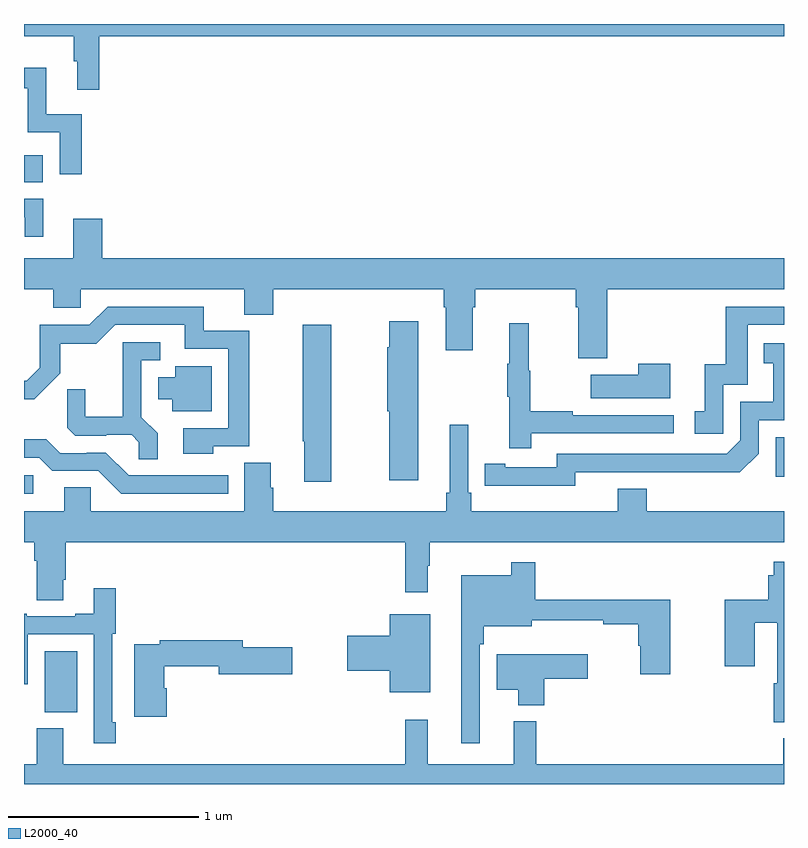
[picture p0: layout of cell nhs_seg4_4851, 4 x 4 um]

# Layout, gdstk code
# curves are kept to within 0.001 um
import gdstk
lib = gdstk.Library(unit=1e-6, precision=1e-09)
def R(c, l, rs):  # rectangles x0, y0, x1, y1
    for r in rs: c.add(gdstk.rectangle(r[:2], r[2:], *l))
def P(c, l, *ps):  # polygons
    for p in ps: c.add(gdstk.Polygon(p, *l))
L2000_40 = (2000, 40)

nhs_seg4_4851 = lib.new_cell('nhs_seg4_4851')
R(nhs_seg4_4851, L2000_40, [(373.109,777.278,373.279,777.598), (373,778.428,373.048,778.524), (376.956,778.518,377,778.725), (373,780.068,373.099,780.208)])
P(nhs_seg4_4851, L2000_40, [(373.397,780.836),(377,780.836),(377,780.9),(373,780.9),(373,780.836),(373.261,780.836),(373.261,780.704),(373.28,780.704),(373.28,780.555),(373.397,780.555)],
  [(373.304,780.426),(373.117,780.426),(373.117,780.67),(373,780.67),(373,780.561),(373.019,780.561),(373.019,780.33),(373.188,780.33),(373.188,780.108),(373.304,780.108)],
  [(373.102,779.979),(373,779.979),(373,779.883),(373.004,779.883),(373.004,779.781),(373.102,779.781)],
  [(376.07,779.504),(377,779.504),(377,779.668),(373.412,779.668),(373.412,779.875),(373.259,779.875),(373.259,779.668),(373,779.668),(373,779.504),(373.153,779.504),(373.153,779.406),(373.299,779.406),(373.299,779.504),(374.159,779.504),(374.159,779.371),(374.312,779.371),(374.312,779.504),(375.209,779.504),(375.209,779.408),(375.221,779.408),(375.221,779.184),(375.361,779.184),(375.361,779.408),(375.374,779.408),(375.374,779.504),(375.905,779.504),(375.905,779.408),(375.917,779.408),(375.917,779.142),(376.07,779.142)],
  [(373.995,778.677),(374.185,778.677),(374.185,779.286),(373.946,779.286),(373.946,779.412),(373.44,779.412),(373.344,779.316),(373.083,779.316),(373.083,779.091),(373.014,779.022),(373,779.022),(373,778.925),(373.054,778.925),(373.192,779.062),(373.192,779.218),(373.381,779.218),(373.479,779.316),(373.847,779.316),(373.847,779.19),(374.076,779.19),(374.076,778.773),(373.839,778.773),(373.839,778.637),(373.995,778.637)],
  [(376.68,779.001),(376.809,779.001),(376.809,779.316),(377,779.316),(377,779.412),(376.693,779.412),(376.693,779.11),(376.583,779.11),(376.583,778.863),(376.53,778.863),(376.53,778.743),(376.68,778.743)],
  [(375.076,779.335),(374.923,779.335),(374.923,779.199),(374.912,779.199),(374.912,778.863),(374.923,778.863),(374.923,778.5),(375.076,778.5)],
  [(375.671,778.746),(376.42,778.746),(376.42,778.842),(375.887,778.842),(375.887,778.862),(375.664,778.862),(375.664,779.076),(375.656,779.076),(375.656,779.326),(375.554,779.326),(375.554,779.113),(375.543,779.113),(375.543,778.939),(375.554,778.939),(375.554,778.668),(375.671,778.668)],
  [(374.616,779.317),(374.467,779.317),(374.467,778.703),(374.474,778.703),(374.474,778.491),(374.616,778.491)],
  [(373.703,778.745),(373.617,778.831),(373.617,779.13),(373.717,779.13),(373.717,779.226),(373.52,779.226),(373.52,778.834),(373.322,778.834),(373.322,778.977),(373.228,778.977),(373.228,778.775),(373.269,778.734),(373.434,778.734),(373.434,778.737),(373.568,778.737),(373.605,778.7),(373.605,778.609),(373.703,778.609)],
  [(375.9,778.542),(376.768,778.541),(376.866,778.638),(376.866,778.815),(377,778.815),(377,779.221),(376.894,779.221),(376.894,779.115),(376.943,779.115),(376.943,778.911),(376.77,778.911),(376.77,778.71),(376.698,778.638),(375.804,778.638),(375.804,778.566),(375.532,778.566),(375.532,778.586),(375.424,778.586),(375.424,778.47),(375.9,778.469)],
  [(376.402,779.113),(376.232,779.113),(376.232,779.053),(375.983,779.053),(375.983,778.931),(376.402,778.931)],
  [(373.987,779.098),(373.796,779.098),(373.796,779.041),(373.706,779.041),(373.706,778.925),(373.781,778.925),(373.781,778.862),(373.987,778.862)],
  [(377,778.336),(376.277,778.336),(376.277,778.453),(376.124,778.453),(376.124,778.336),(375.353,778.336),(375.353,778.432),(375.339,778.432),(375.339,778.792),(375.242,778.792),(375.242,778.432),(375.223,778.432),(375.223,778.336),(374.312,778.336),(374.312,778.458),(374.299,778.458),(374.299,778.592),(374.159,778.592),(374.159,778.336),(373.35,778.336),(373.35,778.463),(373.211,778.463),(373.211,778.336),(373,778.336),(373,778.172),(373.055,778.172),(373.055,778.076),(373.067,778.076),(373.067,777.868),(373.207,777.868),(373.207,777.976),(373.22,777.976),(373.22,778.172),(375.007,778.172),(375.007,777.909),(375.124,777.909),(375.124,778.049),(375.136,778.049),(375.136,778.172),(377,778.172)],
  [(374.074,778.524),(373.551,778.524),(373.431,778.644),(373.33,778.644),(373.33,778.641),(373.191,778.641),(373.118,778.714),(373,778.714),(373,778.617),(373.08,778.617),(373.149,778.548),(373.392,778.548),(373.512,778.428),(374.074,778.428)],
  [(377,778.069),(376.945,778.069),(376.945,778),(376.916,778),(376.916,777.871),(376.688,777.871),(376.688,777.519),(376.846,777.519),(376.846,777.749),(376.965,777.749),(376.965,777.431),(376.945,777.431),(376.945,777.225),(377,777.225)],
  [(375.399,777.635),(375.419,777.635),(375.419,777.731),(375.673,777.731),(375.673,777.761),(376.048,777.761),(376.048,777.742),(376.232,777.742),(376.232,777.627),(376.244,777.627),(376.244,777.477),(376.402,777.477),(376.402,777.871),(375.692,777.871),(375.692,778.066),(375.564,778.066),(375.564,778),(375.302,778),(375.302,777.114),(375.399,777.114)],
  [(373.484,777.226),(373.464,777.226),(373.464,777.69),(373.484,777.69),(373.484,777.931),(373.367,777.931),(373.367,777.796),(373.271,777.796),(373.271,777.783),(373.015,777.783),(373.015,777.796),(373,777.796),(373,777.426),(373.021,777.426),(373.021,777.687),(373.368,777.687),(373.368,777.114),(373.484,777.114)],
  [(375.139,777.793),(374.924,777.793),(374.924,777.68),(374.7,777.68),(374.7,777.497),(374.924,777.497),(374.924,777.383),(375.139,777.383)],
  [(373.751,777.405),(373.738,777.405),(373.738,777.52),(374.024,777.52),(374.024,777.478),(374.413,777.478),(374.413,777.62),(374.152,777.62),(374.152,777.656),(373.714,777.656),(373.714,777.636),(373.58,777.636),(373.58,777.255),(373.751,777.255)],
  [(375.737,777.454),(375.967,777.454),(375.967,777.583),(375.488,777.583),(375.488,777.395),(375.602,777.395),(375.602,777.314),(375.737,777.314)],
  [(377,777.14),(376.997,777.14),(376.997,777.004),(375.695,777.004),(375.695,777.229),(375.578,777.229),(375.578,777.004),(375.125,777.004),(375.125,777.238),(375.007,777.238),(375.007,777.004),(373.207,777.004),(373.207,777.193),(373.067,777.193),(373.067,777.004),(373,777.004),(373,776.9),(377,776.9)])

lib.write_gds('nhs_seg4_4851.gds')
